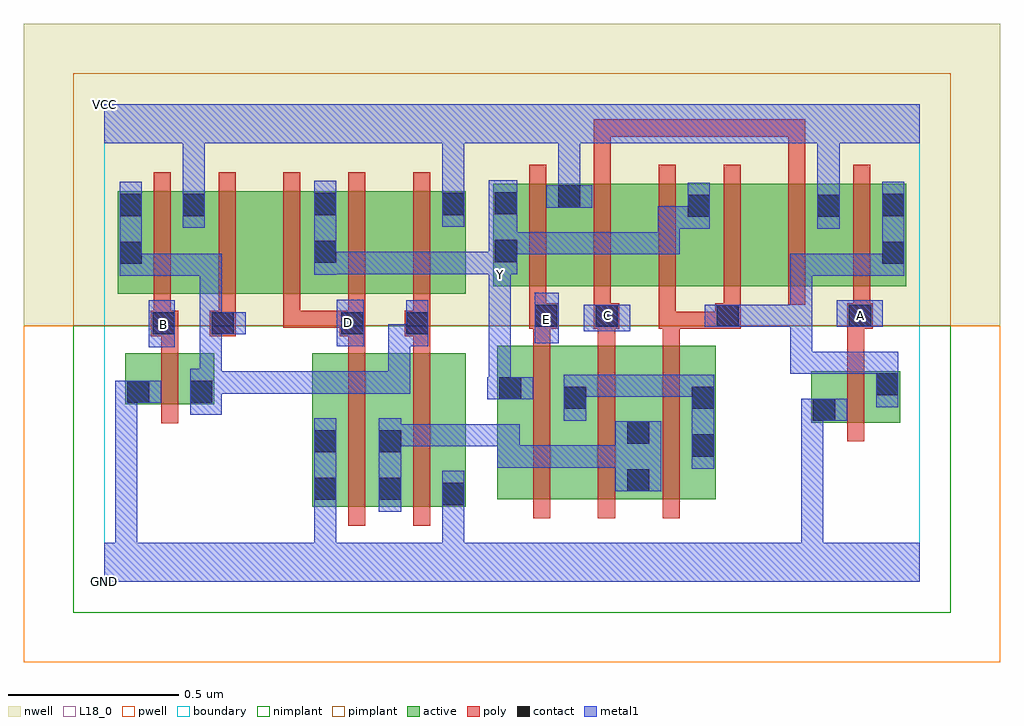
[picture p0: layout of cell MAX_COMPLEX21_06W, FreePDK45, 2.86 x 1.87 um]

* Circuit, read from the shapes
.subckt MAX_COMPLEX21_06W A B C D E GND VCC Y
M1 n1 B GND VSUBS nfet w=0.15u l=0.05u
M2 n2 D GND VSUBS nfet w=0.45u l=0.05u
M3 GND n1 n2 VSUBS nfet w=0.45u l=0.05u
M4 n3 E Y VSUBS nfet w=0.45u l=0.05u
M5 n2 C n3 VSUBS nfet w=0.45u l=0.05u
M6 n3 n4 n2 VSUBS nfet w=0.45u l=0.05u
M7 n4 A GND VSUBS nfet w=0.15u l=0.05u
M8 VCC B n1 n5 pfet w=0.3u l=0.05u
M9 n6 n1 VCC n5 pfet w=0.3u l=0.05u
M10 Y D n6 n5 pfet w=0.3u l=0.05u
M11 n7 D Y n5 pfet w=0.3u l=0.05u
M12 VCC n1 n7 n5 pfet w=0.3u l=0.05u
M13 VCC E Y n5 pfet w=0.3u l=0.05u
M14 n8 C VCC n5 pfet w=0.3u l=0.05u
M15 Y n4 n8 n5 pfet w=0.3u l=0.05u
M16 n9 n4 Y n5 pfet w=0.3u l=0.05u
M17 VCC C n9 n5 pfet w=0.3u l=0.05u
M18 n4 A VCC n5 pfet w=0.3u l=0.05u
.ends

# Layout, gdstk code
import gdstk
lib = gdstk.Library(unit=1e-6, precision=1e-09)
def R(c, l, rs):  # rectangles x0, y0, x1, y1
    for r in rs: c.add(gdstk.rectangle(r[:2], r[2:], *l))
def A(c, l, x, y, w, h, nx, ny, dx, dy):  # array of equal rectangles
    R(c, l, [(x+i*dx, y+j*dy, x+i*dx+w, y+j*dy+h) for i in range(nx) for j in range(ny)])
active = (1, 0)
pwell = (2, 0)
nwell = (3, 0)
nimplant = (4, 0)
pimplant = (5, 0)
poly = (9, 0)
contact = (10, 0)
metal1 = (11, 0)
L18_0 = (18, 0)
boundary = (235, 0)

max_complex21_06w = lib.new_cell('MAX_COMPLEX21_06W')
R(max_complex21_06w, active, [(0.61,0.22,0.875,0.67), (0.61,0.22,0.685,0.67), (0.8,0.22,1.06,0.67), (0.8,0.22,0.875,0.542), (0.985,0.22,1.06,0.435), (1.152,0.242,1.417,0.692), (1.342,0.242,1.602,0.692), (1.527,0.242,1.792,0.692), (1.152,0.245,1.227,0.692), (1.342,0.245,1.417,0.692), (1.527,0.245,1.602,0.652), (1.717,0.245,1.792,0.692), (2.072,0.467,2.147,0.617), (2.072,0.467,2.332,0.617), (2.257,0.467,2.332,0.617), (0.062,0.52,0.137,0.67), (0.062,0.52,0.322,0.67), (0.247,0.52,0.322,0.67), (0.04,0.845,0.3,1.145), (0.04,0.845,0.115,1.142), (0.225,0.845,0.3,1.145), (0.225,0.845,0.455,1.145), (0.455,0.845,0.685,1.145), (0.61,0.845,0.685,1.145), (0.61,0.845,0.835,1.145), (0.835,0.845,1.06,1.145), (0.985,0.845,1.06,1.145), (1.14,0.867,1.4,1.167), (1.14,0.867,1.215,1.147), (1.325,0.867,1.555,1.167), (1.555,0.867,1.78,1.167), (1.705,0.867,1.78,1.167), (1.705,0.867,1.935,1.167), (1.935,0.867,2.16,1.167), (2.085,0.867,2.35,1.167), (2.085,0.867,2.16,1.167), (2.275,0.867,2.35,1.165), (1.325,0.962,1.4,1.167)])
R(max_complex21_06w, pwell, [(-0.235,-0.235,2.625,0.75)])
R(max_complex21_06w, nwell, [(-0.235,0.75,2.625,1.635)])
R(max_complex21_06w, nimplant, [(-0.09,-0.09,2.48,0.75)])
R(max_complex21_06w, pimplant, [(-0.09,0.75,2.48,1.49)])
A(max_complex21_06w, poly, 1.257, 0.187, 0.05, 0.56, 3, 1, 0.19, 0)
A(max_complex21_06w, poly, 1.257, 0.697, 0.05, 0.095, 3, 1, 0.19, 0)
A(max_complex21_06w, poly, 0.145, 0.745, 0.05, 0.095, 5, 1, 0.19, 0)
A(max_complex21_06w, poly, 1.435, 0.767, 0.05, 0.095, 3, 1, 0.38, 0)
A(max_complex21_06w, poly, 0.145, 0.79, 0.05, 0.41, 5, 1, 0.19, 0)
A(max_complex21_06w, poly, 1.245, 0.812, 0.05, 0.41, 6, 1, 0.19, 0)
R(max_complex21_06w, poly, [(0.715,0.165,0.765,0.725), (0.905,0.165,0.955,0.725), (2.177,0.412,2.227,0.672), (0.167,0.465,0.217,0.725), (2.177,0.622,2.227,0.792), (0.167,0.675,0.217,0.77), (0.715,0.675,0.765,0.77), (0.905,0.675,0.955,0.77), (0.137,0.72,0.217,0.795), (0.31,0.72,0.385,0.795), (0.69,0.72,0.765,0.795), (0.88,0.72,0.955,0.795), (1.245,0.742,1.332,0.817), (1.435,0.742,1.51,0.817), (1.625,0.742,1.675,0.862), (1.625,0.742,1.687,0.792), (1.637,0.742,1.84,0.792), (1.79,0.742,1.865,0.817), (1.79,0.742,1.84,0.792), (1.79,0.742,1.84,0.792), (2.177,0.742,2.252,0.817), (0.525,0.745,0.575,0.795), (0.525,0.745,0.74,0.795), (0.69,0.745,0.74,0.795), (0.69,0.745,0.74,0.795), (1.245,0.767,1.295,0.862), (1.435,1.172,1.485,1.355), (2.005,1.172,2.055,1.355), (1.435,1.305,1.485,1.355), (1.435,1.305,1.485,1.355), (1.435,1.305,1.485,1.355), (1.435,1.305,1.642,1.355), (1.592,1.305,1.642,1.355), (1.592,1.305,1.642,1.355), (1.592,1.305,1.642,1.355), (1.592,1.305,1.922,1.355), (1.872,1.305,1.922,1.355), (1.872,1.305,2.055,1.355), (2.005,1.305,2.055,1.355), (2.005,1.305,2.055,1.355), (2.005,1.305,2.055,1.355)])
R(max_complex21_06w, contact, [(0.99,0.225,1.055,0.29), (0.615,0.24,0.68,0.305), (0.805,0.24,0.87,0.305), (1.532,0.265,1.597,0.33), (1.722,0.367,1.787,0.432), (0.615,0.38,0.68,0.445), (0.805,0.38,0.87,0.445), (1.532,0.405,1.597,0.47), (2.077,0.472,2.142,0.537), (1.347,0.507,1.412,0.572), (1.722,0.507,1.787,0.572), (0.067,0.525,0.132,0.59), (0.252,0.525,0.317,0.59), (1.157,0.535,1.222,0.6), (2.262,0.547,2.327,0.612), (0.142,0.725,0.207,0.79), (0.315,0.725,0.38,0.79), (0.695,0.725,0.76,0.79), (0.885,0.725,0.95,0.79), (1.262,0.747,1.327,0.812), (1.44,0.747,1.505,0.812), (1.795,0.747,1.86,0.812), (2.182,0.747,2.247,0.812), (0.045,0.932,0.11,0.997), (2.28,0.932,2.345,0.997), (0.615,0.935,0.68,1), (1.145,0.937,1.21,1.002), (1.71,1.07,1.775,1.135), (2.09,1.07,2.155,1.135), (0.045,1.072,0.11,1.137), (0.23,1.072,0.295,1.137), (2.28,1.072,2.345,1.137), (0.615,1.075,0.68,1.14), (0.99,1.075,1.055,1.14), (1.145,1.077,1.21,1.142), (1.33,1.097,1.395,1.162)])
R(max_complex21_06w, metal1, [(0,0,2.39,0.115), (0.032,0.05,0.097,0.115), (0.032,0.05,0.097,0.115), (0.032,0.05,0.097,0.115), (0.032,0.05,0.097,0.115), (0.032,0.05,0.097,0.115), (0.032,0.05,0.097,0.115), (0.032,0.05,0.097,0.59), (0.615,0.05,0.68,0.115), (0.615,0.05,0.68,0.115), (0.615,0.05,0.68,0.27), (0.99,0.05,1.055,0.255), (2.042,0.05,2.107,0.115), (2.042,0.05,2.107,0.115), (2.042,0.05,2.107,0.115), (2.042,0.05,2.107,0.115), (2.042,0.05,2.107,0.115), (2.042,0.05,2.107,0.115), (2.042,0.05,2.107,0.537), (0.99,0.19,1.055,0.255), (0.99,0.19,1.055,0.255), (0.99,0.19,1.055,0.325), (0.615,0.205,0.68,0.48), (0.805,0.205,0.87,0.48), (1.497,0.265,1.632,0.47), (1.722,0.332,1.787,0.607), (1.152,0.335,1.412,0.4), (1.152,0.335,1.217,0.462), (1.347,0.335,1.412,0.4), (1.347,0.335,1.412,0.4), (1.347,0.335,1.412,0.4), (1.347,0.335,1.562,0.4), (0.805,0.397,1.045,0.462), (0.98,0.397,1.045,0.462), (0.98,0.397,1.045,0.462), (0.98,0.397,1.045,0.462), (0.98,0.397,1.217,0.462), (1.152,0.397,1.217,0.462), (1.152,0.397,1.217,0.462), (1.347,0.472,1.412,0.607), (2.042,0.472,2.177,0.537), (0.252,0.49,0.345,0.625), (2.262,0.512,2.327,0.647), (0.032,0.525,0.167,0.59), (1.122,0.535,1.257,0.6), (1.127,0.535,1.192,0.897), (1.347,0.542,1.55,0.607), (1.485,0.542,1.55,0.607), (1.485,0.542,1.55,0.607), (1.485,0.542,1.55,0.607), (1.485,0.542,1.687,0.607), (1.622,0.542,1.687,0.607), (1.622,0.542,1.787,0.607), (0.28,0.552,0.345,0.617), (0.28,0.552,0.345,0.617), (0.28,0.552,0.542,0.617), (0.477,0.552,0.542,0.617), (0.477,0.552,0.542,0.617), (0.477,0.552,0.542,0.617), (0.477,0.552,0.68,0.617), (0.615,0.552,0.68,0.617), (0.615,0.552,0.68,0.617), (0.615,0.552,0.68,0.617), (0.615,0.552,0.897,0.617), (0.832,0.552,0.897,0.617), (0.832,0.552,0.897,0.755), (0.28,0.56,0.345,0.79), (2.262,0.582,2.327,0.647), (2.262,0.582,2.327,0.675), (2.01,0.61,2.075,0.675), (2.01,0.61,2.327,0.675), (2.01,0.61,2.075,0.812), (0.13,0.687,0.207,0.825), (0.682,0.69,0.76,0.827), (0.832,0.69,0.897,0.755), (0.832,0.69,0.95,0.755), (0.885,0.69,0.95,0.825), (1.262,0.7,1.332,0.847), (0.28,0.725,0.345,0.79), (0.28,0.725,0.345,0.79), (0.28,0.725,0.415,0.79), (0.28,0.725,0.345,0.962), (1.405,0.735,1.542,0.812), (1.76,0.747,1.895,0.812), (1.83,0.747,1.895,0.812), (1.83,0.747,1.895,0.812), (1.83,0.747,2.075,0.812), (2.01,0.747,2.075,0.812), (2.01,0.747,2.075,0.812), (2.01,0.747,2.075,0.812), (2.01,0.747,2.075,0.962), (2.147,0.747,2.282,0.825), (1.127,0.832,1.192,0.967), (0.045,0.897,0.11,0.962), (0.045,0.897,0.11,0.962), (0.045,0.897,0.11,1.172), (0.045,0.897,0.345,0.962), (0.28,0.897,0.345,0.962), (2.01,0.897,2.075,0.962), (2.01,0.897,2.345,0.962), (2.28,0.897,2.345,0.962), (2.28,0.897,2.345,0.962), (2.28,0.897,2.345,1.172), (0.615,0.9,0.68,1.175), (0.615,0.902,0.68,0.967), (0.615,0.902,0.68,0.967), (0.615,0.902,0.907,0.967), (0.842,0.902,0.907,0.967), (0.842,0.902,1.045,0.967), (0.98,0.902,1.045,0.967), (0.98,0.902,1.045,0.967), (0.98,0.902,1.045,0.967), (0.98,0.902,1.192,0.967), (1.127,0.902,1.192,0.967), (1.127,0.902,1.21,1.177), (1.145,0.96,1.21,1.025), (1.145,0.96,1.21,1.025), (1.145,0.96,1.412,1.025), (1.347,0.96,1.412,1.025), (1.347,0.96,1.412,1.025), (1.347,0.96,1.412,1.025), (1.347,0.96,1.55,1.025), (1.485,0.96,1.55,1.025), (1.485,0.96,1.687,1.025), (1.622,0.96,1.687,1.1), (1.622,1.035,1.775,1.1), (1.71,1.035,1.775,1.17), (2.09,1.035,2.155,1.17), (0.23,1.037,0.295,1.172), (0.99,1.04,1.055,1.175), (1.295,1.097,1.43,1.162), (1.33,1.097,1.395,1.35), (2.09,1.105,2.155,1.35), (0.23,1.107,0.295,1.172), (0.23,1.107,0.295,1.172), (0.23,1.107,0.295,1.35), (0.99,1.11,1.055,1.175), (0.99,1.11,1.055,1.175), (0.99,1.11,1.055,1.35), (0,1.285,2.39,1.4), (1.33,1.285,1.395,1.35), (1.33,1.285,1.395,1.35), (2.09,1.285,2.155,1.35), (2.09,1.285,2.155,1.35)])
R(max_complex21_06w, L18_0, [(0,0,2.39,0.115), (0.032,0.05,0.097,0.115), (0.032,0.05,0.097,0.115), (0.032,0.05,0.097,0.115), (0.032,0.05,0.097,0.115), (0.032,0.05,0.097,0.115), (0.032,0.05,0.097,0.115), (0.032,0.05,0.097,0.59), (0.615,0.05,0.68,0.115), (0.615,0.05,0.68,0.115), (0.615,0.05,0.68,0.27), (0.99,0.05,1.055,0.255), (2.042,0.05,2.107,0.115), (2.042,0.05,2.107,0.115), (2.042,0.05,2.107,0.115), (2.042,0.05,2.107,0.115), (2.042,0.05,2.107,0.115), (2.042,0.05,2.107,0.115), (2.042,0.05,2.107,0.537), (0.99,0.19,1.055,0.255), (0.99,0.19,1.055,0.255), (0.99,0.19,1.055,0.325), (0.615,0.205,0.68,0.48), (2.042,0.472,2.177,0.537), (0.032,0.525,0.167,0.59), (1.122,0.535,1.257,0.6), (1.127,0.535,1.192,0.897), (0.13,0.687,0.207,0.825), (0.682,0.69,0.76,0.827), (1.262,0.7,1.332,0.847), (0.142,0.722,0.207,0.787), (0.682,0.727,0.747,0.792), (1.405,0.735,1.542,0.812), (1.262,0.737,1.327,0.802), (1.442,0.747,1.507,0.812), (2.147,0.747,2.282,0.825), (2.182,0.747,2.247,0.812), (1.127,0.832,1.192,0.967), (1.127,0.867,1.192,0.932), (0.615,0.9,0.68,1.175), (0.615,0.902,0.68,0.967), (0.615,0.902,0.68,0.967), (0.615,0.902,0.907,0.967), (0.842,0.902,0.907,0.967), (0.842,0.902,1.045,0.967), (0.98,0.902,1.045,0.967), (0.98,0.902,1.045,0.967), (0.98,0.902,1.045,0.967), (0.98,0.902,1.192,0.967), (1.127,0.902,1.192,0.967), (1.127,0.902,1.21,1.177), (1.145,0.96,1.21,1.025), (1.145,0.96,1.21,1.025), (1.145,0.96,1.412,1.025), (1.347,0.96,1.412,1.025), (1.347,0.96,1.412,1.025), (1.347,0.96,1.412,1.025), (1.347,0.96,1.55,1.025), (1.485,0.96,1.55,1.025), (1.485,0.96,1.687,1.025), (1.622,0.96,1.687,1.1), (1.622,1.035,1.775,1.1), (1.71,1.035,1.775,1.17), (2.09,1.035,2.155,1.17), (0.23,1.037,0.295,1.172), (0.99,1.04,1.055,1.175), (1.295,1.097,1.43,1.162), (1.33,1.097,1.395,1.35), (2.09,1.105,2.155,1.35), (0.23,1.107,0.295,1.172), (0.23,1.107,0.295,1.172), (0.23,1.107,0.295,1.35), (0.99,1.11,1.055,1.175), (0.99,1.11,1.055,1.175), (0.99,1.11,1.055,1.35), (0,1.285,2.39,1.4), (1.33,1.285,1.395,1.35), (1.33,1.285,1.395,1.35), (2.09,1.285,2.155,1.35), (2.09,1.285,2.155,1.35)])
R(max_complex21_06w, boundary, [(0,0,2.39,1.4)])
max_complex21_06w.add(gdstk.Label('A', (2.215,0.78), layer=11, texttype=0))
max_complex21_06w.add(gdstk.Label('B', (0.175,0.755), layer=11, texttype=0))
max_complex21_06w.add(gdstk.Label('C', (1.475,0.78), layer=11, texttype=0))
max_complex21_06w.add(gdstk.Label('D', (0.715,0.76), layer=11, texttype=0))
max_complex21_06w.add(gdstk.Label('E', (1.295,0.77), layer=11, texttype=0))
max_complex21_06w.add(gdstk.Label('Y', (1.16,0.9), layer=11, texttype=0))
max_complex21_06w.add(gdstk.Label('VCC', (0,1.4), layer=11, texttype=0))
max_complex21_06w.add(gdstk.Label('GND', (0,0), layer=11, texttype=0))

lib.write_gds('MAX_COMPLEX21_06W.gds')
